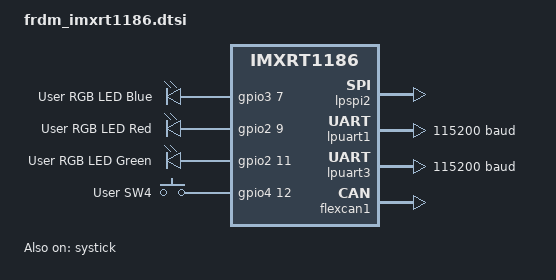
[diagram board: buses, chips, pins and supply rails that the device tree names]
/*
 * Copyright 2026 NXP
 *
 * SPDX-License-Identifier: Apache-2.0
 */

#include "frdm_imxrt1186-pinctrl.dtsi"
#include <zephyr/dt-bindings/input/input-event-codes.h>
#include <zephyr/dt-bindings/gpio/gpio.h>

/ {
	aliases {
		led0 = &blue_led;
		led1 = &red_led;
		led2 = &green_led;
		sw0 = &user_button;
	};

	chosen {
		zephyr,canbus = &flexcan1;
	};

	leds {
		compatible = "gpio-leds";

		blue_led: led-1 {
			gpios = <&gpio3 7 GPIO_ACTIVE_HIGH>;
			label = "User RGB LED Blue";
		};

		red_led: led-2 {
			gpios = <&gpio2 9 GPIO_ACTIVE_HIGH>;
			label = "User RGB LED Red";
		};

		green_led: led-3 {
			gpios = <&gpio2 11 GPIO_ACTIVE_HIGH>;
			label = "User RGB LED Green";
		};
	};

	gpio_keys {
		compatible = "gpio-keys";

		user_button: button-1 {
			label = "User SW4";
			gpios = <&gpio4 12 (GPIO_PULL_UP | GPIO_ACTIVE_HIGH)>;
			zephyr,code = <INPUT_KEY_0>;
			status = "okay";
		};
	};
};

&edma3 {
	status = "okay";
};

&edma4 {
	status = "okay";
};

&lpspi2 {
	pinctrl-0 = <&pinmux_lpspi2>;
	pinctrl-1 = <&pinmux_lpspi2_sleep>;
	pinctrl-names = "default", "sleep";
	status = "okay";
};

&lpuart1 {
	current-speed = <115200>;
	pinctrl-0 = <&pinmux_lpuart1>;
	pinctrl-1 = <&pinmux_lpuart1_sleep>;
	pinctrl-names = "default", "sleep";
};

&lpuart3 {
	current-speed = <115200>;
	pinctrl-0 = <&pinmux_lpuart3>;
	pinctrl-1 = <&pinmux_lpuart3_sleep>;
	pinctrl-names = "default", "sleep";
};

&gpio1 {
	status = "okay";
};

&gpio2 {
	status = "okay";
};

&gpio3 {
	status = "okay";
};

&gpio4 {
	status = "okay";
};

&gpio5 {
	status = "okay";
};

&gpio6 {
	status = "okay";
};

&flexcan1 {
	pinctrl-0 = <&pinmux_flexcan1>;
	pinctrl-names = "default";
	status = "okay";
};

&systick {
	status = "okay";
};

&flexspi2 {
	pinctrl-0 = <&pinmux_flexspi2>;
	pinctrl-names = "default";
	ahb-prefetch;
	ahb-read-addr-opt;
	rx-clock-source = <1>;
	/*
	 * If booting with XIP from FlexSPI flash, the flash memory will be initialized by the
	 * bootloader in ROM.
	 * If not configured by the ROM bootloader, the user must ensure the w25q128jw QSPI device
	 * is enabled in the DTS, otherwise, the user must set 'status = "disabled";
	 * Note: mpu_region.c uses the status property from the DTS to configure the
	 * corresponding MPU settings.
	 */
	status = "disabled";

	w25q128jv: w25q128jv@0 {
		compatible = "nxp,imx-flexspi-nor";
		reg = <0>;
		size = <DT_SIZE_M(16*8)>;
		spi-max-frequency = <DT_FREQ_M(133)>;
		jedec-id = [ef 40 18];
		erase-block-size = <DT_SIZE_K(4)>;
		write-block-size = <1>;
		status = "okay";

		partitions {
			compatible = "fixed-partitions";
			#address-cells = <1>;
			#size-cells = <1>;

			/*
			 * Partition sizes must be aligned
			 * to the flash memory sector size of 4KB.
			 */
			boot_partition: partition@0 {
				reg = <0x00000000 DT_SIZE_K(128)>;
				label = "mcuboot";
			};

			slot0_partition: partition@20000 {
				reg = <0x00020000 DT_SIZE_M(7)>;
				label = "image-0";
			};

			slot1_partition: partition@720000 {
				reg = <0x00720000 DT_SIZE_M(7)>;
				label = "image-1";
			};

			storage_partition: partition@e20000 {
				reg = <0x00e20000 (DT_SIZE_M(2) - DT_SIZE_K(128))>;
				label = "storage";
			};
		};
	};
};

&lpadc1 {
	pinctrl-0 = <&pinmux_lpadc1>;
	pinctrl-names = "default";
};
